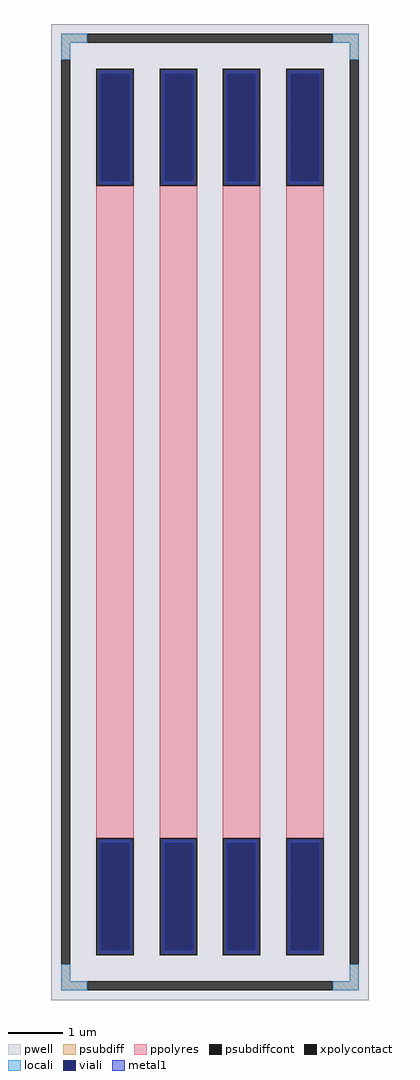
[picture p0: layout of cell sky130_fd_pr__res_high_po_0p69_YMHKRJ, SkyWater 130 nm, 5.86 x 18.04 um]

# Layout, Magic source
magic
tech sky130A
magscale 1 2
<< pwell >>
rect -586 -1804 586 1804
<< psubdiff >>
rect -550 1734 -454 1768
rect 454 1734 550 1768
rect -550 1672 -516 1734
rect 516 1672 550 1734
rect -550 -1734 -516 -1672
rect 516 -1734 550 -1672
rect -550 -1768 -454 -1734
rect 454 -1768 550 -1734
<< psubdiffcont >>
rect -454 1734 454 1768
rect -550 -1672 -516 1672
rect 516 -1672 550 1672
rect -454 -1768 454 -1734
<< xpolycontact >>
rect -420 1206 -282 1638
rect -420 -1638 -282 -1206
rect -186 1206 -48 1638
rect -186 -1638 -48 -1206
rect 48 1206 186 1638
rect 48 -1638 186 -1206
rect 282 1206 420 1638
rect 282 -1638 420 -1206
<< ppolyres >>
rect -420 -1206 -282 1206
rect -186 -1206 -48 1206
rect 48 -1206 186 1206
rect 282 -1206 420 1206
<< locali >>
rect -550 1734 -454 1768
rect 454 1734 550 1768
rect -550 1672 -516 1734
rect 516 1672 550 1734
rect -550 -1734 -516 -1672
rect 516 -1734 550 -1672
rect -550 -1768 -454 -1734
rect 454 -1768 550 -1734
<< viali >>
rect -404 1223 -298 1620
rect -170 1223 -64 1620
rect 64 1223 170 1620
rect 298 1223 404 1620
rect -404 -1620 -298 -1223
rect -170 -1620 -64 -1223
rect 64 -1620 170 -1223
rect 298 -1620 404 -1223
<< metal1 >>
rect -410 1620 -292 1632
rect -410 1223 -404 1620
rect -298 1223 -292 1620
rect -410 1211 -292 1223
rect -176 1620 -58 1632
rect -176 1223 -170 1620
rect -64 1223 -58 1620
rect -176 1211 -58 1223
rect 58 1620 176 1632
rect 58 1223 64 1620
rect 170 1223 176 1620
rect 58 1211 176 1223
rect 292 1620 410 1632
rect 292 1223 298 1620
rect 404 1223 410 1620
rect 292 1211 410 1223
rect -410 -1223 -292 -1211
rect -410 -1620 -404 -1223
rect -298 -1620 -292 -1223
rect -410 -1632 -292 -1620
rect -176 -1223 -58 -1211
rect -176 -1620 -170 -1223
rect -64 -1620 -58 -1223
rect -176 -1632 -58 -1620
rect 58 -1223 176 -1211
rect 58 -1620 64 -1223
rect 170 -1620 176 -1223
rect 58 -1632 176 -1620
rect 292 -1223 410 -1211
rect 292 -1620 298 -1223
rect 404 -1620 410 -1223
rect 292 -1632 410 -1620
<< properties >>
string FIXED_BBOX -533 -1751 533 1751
string gencell sky130_fd_pr__res_high_po_0p69
string library sky130
string parameters w 0.690 l 12.22 m 1 nx 4 wmin 0.690 lmin 0.50 rho 319.8 val 6.228k dummy 0 dw 0.0 term 194.82 sterm 0.0 caplen 0 guard 1 glc 1 grc 1 gtc 1 gbc 1 compatible {sky130_fd_pr__res_high_po_0p35  sky130_fd_pr__res_high_po_0p69 sky130_fd_pr__res_high_po_1p41  sky130_fd_pr__res_high_po_2p85 sky130_fd_pr__res_high_po_5p73} snake 0 full_metal 1 wmax 0.690 n_guard 0 hv_guard 0 vias 1 viagb 0 viagt 0 viagl 0 viagr 0
<< end >>
